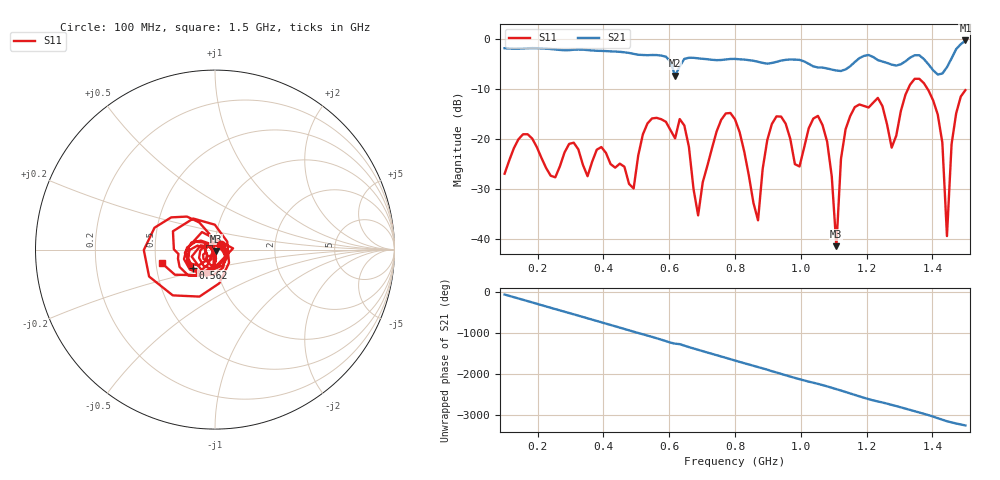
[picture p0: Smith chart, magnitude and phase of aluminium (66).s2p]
! NanoVNA-App
! Date: 2025-09-25 14:55:47
! Start: 100MHz Stop: 1,5GHz Points: 101
! S-Parameter data: F S11 S21 S12 S22
# Hz S RI R 50
!  Frequency  S11_Real  S11_Imag  S21_Real  S21_Imag  S12_Real  S12_Imag  S22_Real  S22_Imag
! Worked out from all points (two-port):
!   101 points, 100 MHz to 1.5 GHz, reference 50 ohm
!   highest |S21| = -0.37 dB at 1.5 GHz (marker M1); lowest = -7.4 dB at 618 MHz (marker M2)
!   |S21| within 3 dB of the highest: start of sweep to 572.1 MHz; 1.462 GHz to end of sweep (the widest 2 of 4)
!   lowest |S11| = -41.5 dB at 1.108 GHz (marker M3), VSWR 1.02, Z = 50.5 - j0.701 ohm
!   |S11| at or under -10 dB: start of sweep to 1.326 GHz; 1.384 GHz to end of sweep
!   S12 and S22 are empty: the file has one direction only
!   S11 on the Smith chart (normalised r, x): 100 MHz: 1.07, +0.06; 562 MHz: 0.76, -0.16; 1.5 GHz: 0.54, -0.09
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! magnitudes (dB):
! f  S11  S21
! 100 MHz  -27.0  -1.9
! 338 MHz  -25.2  -2.2
! 492 MHz  -30.0  -3.0
! 562 MHz  -15.8  -3.3
! 576 MHz  -16.1  -3.4
! 618 MHz  -19.9  -7.4
! 688 MHz  -35.3  -3.9
! 800 MHz  -16.1  -4.1
! 870 MHz  -36.3  -4.6
! 912 MHz  -17.1  -4.9
! 996 MHz  -25.6  -4.2
! 1.038 GHz  -16.0  -5.6
! 1.08 GHz  -20.6  -6.0
! 1.108 GHz  -41.5  -6.4
! 1.122 GHz  -24.0  -6.5
! 1.164 GHz  -13.7  -4.7
! 1.276 GHz  -21.8  -5.2
! 1.388 GHz  -10.4  -5.2
! 1.43 GHz  -20.8  -7.0
! 1.444 GHz  -39.5  -5.7
! 1.458 GHz  -21.1  -3.9
! 1.5 GHz  -10.3  -0.4
